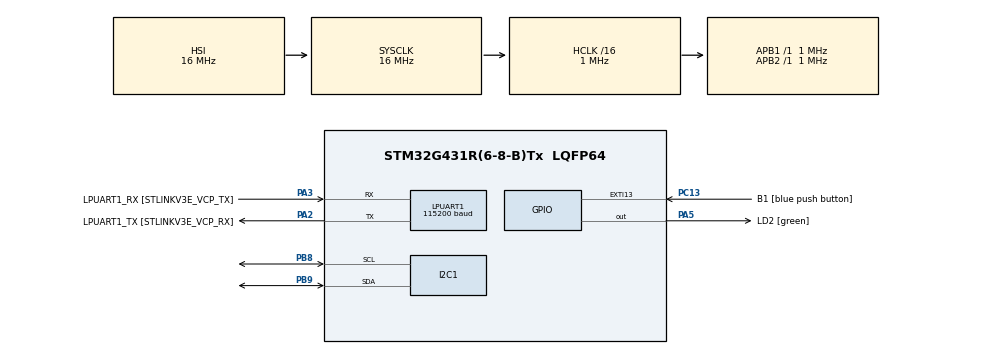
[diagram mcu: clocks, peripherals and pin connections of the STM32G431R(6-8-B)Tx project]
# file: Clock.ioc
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Dma.I2C1_TX.0.Direction=DMA_MEMORY_TO_PERIPH
Dma.I2C1_TX.0.EventEnable=DISABLE
Dma.I2C1_TX.0.Instance=DMA1_Channel1
Dma.I2C1_TX.0.MemDataAlignment=DMA_MDATAALIGN_BYTE
Dma.I2C1_TX.0.MemInc=DMA_MINC_ENABLE
Dma.I2C1_TX.0.Mode=DMA_NORMAL
Dma.I2C1_TX.0.PeriphDataAlignment=DMA_PDATAALIGN_BYTE
Dma.I2C1_TX.0.PeriphInc=DMA_PINC_DISABLE
Dma.I2C1_TX.0.Polarity=HAL_DMAMUX_REQ_GEN_RISING
Dma.I2C1_TX.0.Priority=DMA_PRIORITY_LOW
Dma.I2C1_TX.0.RequestNumber=1
Dma.I2C1_TX.0.SignalID=NONE
Dma.I2C1_TX.0.SyncEnable=DISABLE
Dma.I2C1_TX.0.SyncPolarity=HAL_DMAMUX_SYNC_NO_EVENT
Dma.I2C1_TX.0.SyncRequestNumber=1
Dma.I2C1_TX.0.SyncSignalID=NONE
Dma.Request0=I2C1_TX
I2C1.Timing=0x00000103
LPUART1.BaudRate=115200
Mcu.Family=STM32G4
Mcu.Name=STM32G431R(6-8-B)Tx
Mcu.Package=LQFP64
NVIC.DMA1_Channel1_IRQn=true\:0\:0\:false\:false\:true\:false\:true
NVIC.EXTI15_10_IRQn=true\:0\:0\:false\:false\:true\:true\:true
NVIC.I2C1_EV_IRQn=true\:0\:0\:false\:false\:true\:true\:true
NVIC.PriorityGroup=NVIC_PRIORITYGROUP_4
NVIC.RTC_WKUP_IRQn=true\:0\:0\:false\:false\:true\:true\:true
PA13.GPIO_Label=T_SWDIO
PA13.Mode=Serial_Wire
PA13.Signal=SYS_JTMS-SWDIO
PA14.GPIO_Label=T_SWCLK
PA14.Mode=Serial_Wire
PA14.Signal=SYS_JTCK-SWCLK
PA2.GPIO_Label=LPUART1_TX [STLINKV3E_VCP_RX]
PA2.Mode=Asynchronous
PA2.Signal=LPUART1_TX
PA3.GPIO_Label=LPUART1_RX [STLINKV3E_VCP_TX]
PA3.Mode=Asynchronous
PA3.Signal=LPUART1_RX
PA5.GPIO_Label=LD2 [green]
PA5.Signal=GPIO_Output
PB3.GPIO_Label=T_SWO
PB3.Signal=SYS_JTDO-SWO
PB8-BOOT0.Mode=I2C
PB8-BOOT0.Signal=I2C1_SCL
PB9.Mode=I2C
PB9.Signal=I2C1_SDA
PC13.GPIO_Label=B1 [blue push button]
PC13.Signal=GPXTI13
PC14-OSC32_IN.Mode=LSE-External-Oscillator
PC14-OSC32_IN.Signal=RCC_OSC32_IN
PC15-OSC32_OUT.Mode=LSE-External-Oscillator
PC15-OSC32_OUT.Signal=RCC_OSC32_OUT
PF0-OSC_IN.Signal=RCC_OSC_IN
PF1-OSC_OUT.Signal=RCC_OSC_OUT
ProjectManager.HeapSize=0x200
ProjectManager.StackSize=0x400
ProjectManager.TargetToolchain=Makefile
RCC.ADC12Freq_Value=16000000
RCC.AHBCLKDivider=RCC_SYSCLK_DIV16
RCC.AHBFreq_Value=1000000
RCC.APB1Freq_Value=1000000
RCC.APB1TimFreq_Value=1000000
RCC.APB2Freq_Value=1000000
RCC.APB2TimFreq_Value=1000000
RCC.CortexFreq_Value=1000000
RCC.EXTERNAL_CLOCK_VALUE=12288000
RCC.HCLKFreq_Value=1000000
RCC.HSE_VALUE=24000000
RCC.HSI48_VALUE=48000000
RCC.HSI_VALUE=16000000
RCC.PLLM=RCC_PLLM_DIV2
RCC.PLLR=RCC_PLLR_DIV8
RCC.RTCClockSelection=RCC_RTCCLKSOURCE_LSE
RCC.SYSCLKFreq_VALUE=16000000
RCC.USBFreq_Value=32000000
RCC.VCOOutputFreq_Value=64000000
RTC.Date=15
RTC.Format=RTC_FORMAT_BIN
RTC.Hours=14
RTC.Minutes=21
RTC.Month=RTC_MONTH_MARCH
RTC.Seconds=12
RTC.WakeUpClock-WakeUp=RTC_WAKEUPCLOCK_CK_SPRE_16BITS
RTC.WeekDay=RTC_WEEKDAY_MONDAY
RTC.Year=21
VP_RTC_VS_RTC_Activate.Mode=RTC_Enabled
VP_RTC_VS_RTC_Calendar.Mode=RTC_Calendar
VP_RTC_VS_RTC_WakeUp_intern.Mode=WakeUp
VP_SYS_VS_DBSignals.Mode=DisableDeadBatterySignals
board=NUCLEO-G431RB

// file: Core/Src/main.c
/* USER CODE BEGIN Header */
/**
  ******************************************************************************
  * @file           : main.c
  * @brief          : Main program body
  ******************************************************************************
  * @attention
  *
  * <h2><center>&copy; Copyright (c) 2021 STMicroelectronics.
  * All rights reserved.</center></h2>
  *
  * This software component is licensed by ST under BSD 3-Clause license,
  * the "License"; You may not use this file except in compliance with the
  * License. You may obtain a copy of the License at:
  *                        opensource.org/licenses/BSD-3-Clause
  *
  ******************************************************************************
  */
/* USER CODE END Header */
#include "main.h"

/* USER CODE BEGIN Includes */
#include "ssd1306.h"
#include "fonts.h"
#include "sht3x.h"
#include "stm32g4xx_lp_modes.h"

#if 0 //stand printf & sprintf
#include <stdio.h>
//don't forget that -u _printf_float should be add to the LDFLAGS
#else //tiny printf
#include "printf.h"
#endif

/* USER CODE END Includes */

I2C_HandleTypeDef hi2c1;
DMA_HandleTypeDef hdma_i2c1_tx;

UART_HandleTypeDef hlpuart1;

RTC_HandleTypeDef hrtc;

/* USER CODE BEGIN PV */
SSD1306_COLOR lcdColor = White;

// Create the handle for the sensor.
sht3x_handle_t handle = {
    .i2c_handle = &hi2c1,
    .device_address = SHT3X_I2C_DEVICE_ADDRESS_ADDR_PIN_LOW
};

/* USER CODE END PV */

void SystemClock_Config(void);
static void MX_GPIO_Init(void);
static void MX_DMA_Init(void);
static void MX_LPUART1_UART_Init(void);
static void MX_I2C1_Init(void);
static void MX_RTC_Init(void);

/* USER CODE BEGIN 0 */

void _putchar(char character)
{
  // send char to console etc.
  //HAL_UART_Transmit(&hlpuart1, (uint8_t*)character, 1, 1);
}

/* USER CODE END 0 */

int main(void)
{

  /* MCU Configuration--------------------------------------------------------*/

  /* Reset of all peripherals, Initializes the Flash interface and the Systick. */
  HAL_Init();

  /* Configure the system clock */
  SystemClock_Config();

  /* Initialize all configured peripherals */
  MX_GPIO_Init();
  MX_DMA_Init();
  MX_LPUART1_UART_Init();
  MX_I2C1_Init();
  MX_RTC_Init();
  /* USER CODE BEGIN 2 */

  ssd1306_Init();
  HAL_Delay(50);
  ssd1306_Fill(Black);

  ssd1306_SetCursor(8,8);
  ssd1306_WriteString("Init...",Font_11x18,White);
  ssd1306_UpdateScreen();
  //HAL_Delay(3000);

  // Initialise sensor (tests connection by reading the status register).
  if (!sht3x_init(&handle))
  {
    //printf("SHT3x access failed.\n\r");
  }

  int count = 1;
  char tmpBuf[128] = {0};
  RTC_TimeTypeDef timeOfRtc = {0};
  RTC_DateTypeDef dayOfRtc = {0};

  /* USER CODE END 2 */

  /* Infinite loop */
  while (1)
  {

    /* USER CODE BEGIN 3 */
    //HAL_GPIO_TogglePin(LD2_GPIO_Port, LD2_Pin);

  /*
    ssd1306_SetCursor(77,8);
    sprintf(tmpBuf, "%d", count);
    ssd1306_WriteString(tmpBuf,Font_11x18,lcdColor);
    ssd1306_UpdateScreen();
  */
    count++;
    if (count % 50 == 0)
    {
      if (lcdColor == Black)
      {
        lcdColor = White;
        ssd1306_Fill(Black);
      }
      else
      {
        lcdColor = Black;
        ssd1306_Fill(White);
      }
      //ssd1306_SetCursor(8,8);
      //ssd1306_WriteString("Count: 0",Font_11x18,lcdColor);
    }

    // Read temperature and humidity.
    float temperature, humidity;
    sht3x_read_temperature_and_humidity(&handle, &temperature, &humidity);
    //printf("Initial temperature: %.2fC, humidity: %.2f%%RH\n\r", temperature, humidity);

    ssd1306_SetCursor(90,2);
    //nf_sprintf(tmpBuf, "%.1fC", temperature);
    sprintf(tmpBuf, "%.1fC", temperature);
    ssd1306_WriteString(tmpBuf,Font_7x10,lcdColor);
    ssd1306_SetCursor(90,18);
    sprintf(tmpBuf, "%.1fR", humidity);
    ssd1306_WriteString(tmpBuf,Font_7x10,lcdColor);
    //ssd1306_UpdateScreen();

    HAL_RTC_GetTime(&hrtc, &timeOfRtc, RTC_FORMAT_BIN);
    HAL_RTC_GetDate(&hrtc, &dayOfRtc, RTC_FORMAT_BIN);

    ssd1306_SetCursor(0,8);
    sprintf(tmpBuf, "%02d:%02d:%02d", timeOfRtc.Hours, timeOfRtc.Minutes, timeOfRtc.Seconds);
    ssd1306_WriteString(tmpBuf,Font_11x18,lcdColor);

    ssd1306_UpdateScreen();

    sprintf(tmpBuf, "Rtc:20%02d-%02d-%02dT%02d:%02d:%02d Temp:%.1fC, %.1fRH\n\r", dayOfRtc.Year, dayOfRtc.Month, dayOfRtc.Date
      , timeOfRtc.Hours, timeOfRtc.Minutes, timeOfRtc.Seconds, temperature, humidity);
    //HAL_UART_Transmit(&hlpuart1, (uint8_t*)tmpBuf, 64, 64);

    //HAL_RTCEx_SetWakeUpTimer_IT(&hrtc, 0, RTC_WAKEUPCLOCK_CK_SPRE_16BITS);

#if 1    //debug = 0
    //stop mode
	//HAL_NVIC_DisableIRQ(EXTI15_10_IRQn);
	//HAL_Delay(10);
	while (hi2c1.State != HAL_I2C_STATE_READY)
	{
		/* code */
	}

	HAL_SuspendTick();
    StopRTCMode_Measure();

	//MX_GPIO_Init();
	//MX_LPUART1_UART_Init();

#else
    HAL_Delay(1000);
#endif
/*
  //heater test
  // Enable heater for two seconds.
  sht3x_set_header_enable(&handle, true);
  HAL_Delay(2000);
  sht3x_set_header_enable(&handle, false);

  // Read temperature and humidity again.
  sht3x_read_temperature_and_humidity(&handle, &temperature, &humidity);
  printf("After heating temperature: %.2fC, humidity: %.2f%%RH\n\r", temperature, humidity);
*/
  }
  /* USER CODE END 3 */
}

void SystemClock_Config(void)
{
  RCC_OscInitTypeDef RCC_OscInitStruct = {0};
  RCC_ClkInitTypeDef RCC_ClkInitStruct = {0};
  RCC_PeriphCLKInitTypeDef PeriphClkInit = {0};

  /** Configure the main internal regulator output voltage
  */
  HAL_PWREx_ControlVoltageScaling(PWR_REGULATOR_VOLTAGE_SCALE1);
  /** Configure LSE Drive Capability
  */
  HAL_PWR_EnableBkUpAccess();
  __HAL_RCC_LSEDRIVE_CONFIG(RCC_LSEDRIVE_LOW);
  /** Initializes the RCC Oscillators according to the specified parameters
  * in the RCC_OscInitTypeDef structure.
  */
  RCC_OscInitStruct.OscillatorType = RCC_OSCILLATORTYPE_HSI|RCC_OSCILLATORTYPE_LSE;
  RCC_OscInitStruct.LSEState = RCC_LSE_ON;
  RCC_OscInitStruct.HSIState = RCC_HSI_ON;
  RCC_OscInitStruct.HSICalibrationValue = RCC_HSICALIBRATION_DEFAULT;
  RCC_OscInitStruct.PLL.PLLState = RCC_PLL_NONE;
  if (HAL_RCC_OscConfig(&RCC_OscInitStruct) != HAL_OK)
  {
    Error_Handler();
  }
  /** Initializes the CPU, AHB and APB buses clocks
  */
  RCC_ClkInitStruct.ClockType = RCC_CLOCKTYPE_HCLK|RCC_CLOCKTYPE_SYSCLK
                              |RCC_CLOCKTYPE_PCLK1|RCC_CLOCKTYPE_PCLK2;
  RCC_ClkInitStruct.SYSCLKSource = RCC_SYSCLKSOURCE_HSI;
  RCC_ClkInitStruct.AHBCLKDivider = RCC_SYSCLK_DIV16;
  RCC_ClkInitStruct.APB1CLKDivider = RCC_HCLK_DIV1;
  RCC_ClkInitStruct.APB2CLKDivider = RCC_HCLK_DIV1;

  if (HAL_RCC_ClockConfig(&RCC_ClkInitStruct, FLASH_LATENCY_0) != HAL_OK)
  {
    Error_Handler();
  }
  /** Initializes the peripherals clocks
  */
  PeriphClkInit.PeriphClockSelection = RCC_PERIPHCLK_RTC|RCC_PERIPHCLK_LPUART1
                              |RCC_PERIPHCLK_I2C1;
  PeriphClkInit.Lpuart1ClockSelection = RCC_LPUART1CLKSOURCE_PCLK1;
  PeriphClkInit.I2c1ClockSelection = RCC_I2C1CLKSOURCE_PCLK1;
  PeriphClkInit.RTCClockSelection = RCC_RTCCLKSOURCE_LSE;

  if (HAL_RCCEx_PeriphCLKConfig(&PeriphClkInit) != HAL_OK)
  {
    Error_Handler();
  }
}

static void MX_I2C1_Init(void)
{

  hi2c1.Instance = I2C1;
  hi2c1.Init.Timing = 0x00000103;
  hi2c1.Init.OwnAddress1 = 0;
  hi2c1.Init.AddressingMode = I2C_ADDRESSINGMODE_7BIT;
  hi2c1.Init.DualAddressMode = I2C_DUALADDRESS_DISABLE;
  hi2c1.Init.OwnAddress2 = 0;
  hi2c1.Init.OwnAddress2Masks = I2C_OA2_NOMASK;
  hi2c1.Init.GeneralCallMode = I2C_GENERALCALL_DISABLE;
  hi2c1.Init.NoStretchMode = I2C_NOSTRETCH_DISABLE;
  if (HAL_I2C_Init(&hi2c1) != HAL_OK)
  {
    Error_Handler();
  }
  /** Configure Analogue filter
  */
  if (HAL_I2CEx_ConfigAnalogFilter(&hi2c1, I2C_ANALOGFILTER_ENABLE) != HAL_OK)
  {
    Error_Handler();
  }
  /** Configure Digital filter
  */
  if (HAL_I2CEx_ConfigDigitalFilter(&hi2c1, 0) != HAL_OK)
  {
    Error_Handler();
  }

}

static void MX_LPUART1_UART_Init(void)
{

  hlpuart1.Instance = LPUART1;
  hlpuart1.Init.BaudRate = 115200;
  hlpuart1.Init.WordLength = UART_WORDLENGTH_8B;
  hlpuart1.Init.StopBits = UART_STOPBITS_1;
  hlpuart1.Init.Parity = UART_PARITY_NONE;
  hlpuart1.Init.Mode = UART_MODE_TX_RX;
  hlpuart1.Init.HwFlowCtl = UART_HWCONTROL_NONE;
  hlpuart1.Init.OneBitSampling = UART_ONE_BIT_SAMPLE_DISABLE;
  hlpuart1.Init.ClockPrescaler = UART_PRESCALER_DIV1;
  hlpuart1.AdvancedInit.AdvFeatureInit = UART_ADVFEATURE_NO_INIT;
  if (HAL_UART_Init(&hlpuart1) != HAL_OK)
  {
    Error_Handler();
  }
  if (HAL_UARTEx_SetTxFifoThreshold(&hlpuart1, UART_TXFIFO_THRESHOLD_1_8) != HAL_OK)
  {
    Error_Handler();
  }
  if (HAL_UARTEx_SetRxFifoThreshold(&hlpuart1, UART_RXFIFO_THRESHOLD_1_8) != HAL_OK)
  {
    Error_Handler();
  }
  if (HAL_UARTEx_DisableFifoMode(&hlpuart1) != HAL_OK)
  {
    Error_Handler();
  }

}

static void MX_RTC_Init(void)
{

  RTC_TimeTypeDef sTime = {0};
  RTC_DateTypeDef sDate = {0};

  /** Initialize RTC Only
  */
  hrtc.Instance = RTC;
  hrtc.Init.HourFormat = RTC_HOURFORMAT_24;
  hrtc.Init.AsynchPrediv = 127;
  hrtc.Init.SynchPrediv = 255;
  hrtc.Init.OutPut = RTC_OUTPUT_DISABLE;
  hrtc.Init.OutPutRemap = RTC_OUTPUT_REMAP_NONE;
  hrtc.Init.OutPutPolarity = RTC_OUTPUT_POLARITY_HIGH;
  hrtc.Init.OutPutType = RTC_OUTPUT_TYPE_OPENDRAIN;
  hrtc.Init.OutPutPullUp = RTC_OUTPUT_PULLUP_NONE;
  if (HAL_RTC_Init(&hrtc) != HAL_OK)
  {
    Error_Handler();
  }

  /* USER CODE BEGIN Check_RTC_BKUP */
  if (HAL_RTCEx_BKUPRead(&hrtc, 0) == 0xfc)
  {
    goto exit;
  }

  HAL_RTCEx_BKUPWrite(&hrtc, 0, 0xfc);

  /* USER CODE END Check_RTC_BKUP */

  /** Initialize RTC and set the Time and Date
  */
  sTime.Hours = 14;
  sTime.Minutes = 21;
  sTime.Seconds = 12;
  sTime.SubSeconds = 0;
  sTime.DayLightSaving = RTC_DAYLIGHTSAVING_NONE;
  sTime.StoreOperation = RTC_STOREOPERATION_RESET;
  if (HAL_RTC_SetTime(&hrtc, &sTime, RTC_FORMAT_BIN) != HAL_OK)
  {
    Error_Handler();
  }
  sDate.WeekDay = RTC_WEEKDAY_MONDAY;
  sDate.Month = RTC_MONTH_MARCH;
  sDate.Date = 15;
  sDate.Year = 21;

  if (HAL_RTC_SetDate(&hrtc, &sDate, RTC_FORMAT_BIN) != HAL_OK)
  {
    Error_Handler();
  }
  /** Enable the WakeUp
  */
  if (HAL_RTCEx_SetWakeUpTimer_IT(&hrtc, 0, RTC_WAKEUPCLOCK_CK_SPRE_16BITS) != HAL_OK)
  {
    Error_Handler();
  }
  /* USER CODE BEGIN RTC_Init 2 */
  exit:;
  /* USER CODE END RTC_Init 2 */

}

static void MX_DMA_Init(void)
{

  /* DMA controller clock enable */
  __HAL_RCC_DMAMUX1_CLK_ENABLE();
  __HAL_RCC_DMA1_CLK_ENABLE();

  /* DMA interrupt init */
  /* DMA1_Channel1_IRQn interrupt configuration */
  HAL_NVIC_SetPriority(DMA1_Channel1_IRQn, 0, 0);
  HAL_NVIC_EnableIRQ(DMA1_Channel1_IRQn);

}

static void MX_GPIO_Init(void)
{
  GPIO_InitTypeDef GPIO_InitStruct = {0};

  /* GPIO Ports Clock Enable */
  __HAL_RCC_GPIOC_CLK_ENABLE();
  __HAL_RCC_GPIOF_CLK_ENABLE();
  __HAL_RCC_GPIOG_CLK_ENABLE();
  __HAL_RCC_GPIOA_CLK_ENABLE();
  __HAL_RCC_GPIOB_CLK_ENABLE();
  __HAL_RCC_GPIOD_CLK_ENABLE();

  /*Configure GPIO pin Output Level */
  HAL_GPIO_WritePin(LD2_GPIO_Port, LD2_Pin, GPIO_PIN_RESET);

  /*Configure GPIO pin : B1_Pin */
  GPIO_InitStruct.Pin = B1_Pin;
  GPIO_InitStruct.Mode = GPIO_MODE_IT_RISING;
  GPIO_InitStruct.Pull = GPIO_NOPULL;
  HAL_GPIO_Init(B1_GPIO_Port, &GPIO_InitStruct);

  /*Configure GPIO pin : PG10 */
  GPIO_InitStruct.Pin = GPIO_PIN_10;
  GPIO_InitStruct.Mode = GPIO_MODE_ANALOG;
  GPIO_InitStruct.Pull = GPIO_NOPULL;
  HAL_GPIO_Init(GPIOG, &GPIO_InitStruct);

  /*Configure GPIO pins : PC0 PC1 PC2 PC3
                           PC4 PC5 PC6 PC7
                           PC8 PC9 PC10 PC11
                           PC12 */
  GPIO_InitStruct.Pin = GPIO_PIN_0|GPIO_PIN_1|GPIO_PIN_2|GPIO_PIN_3
                          |GPIO_PIN_4|GPIO_PIN_5|GPIO_PIN_6|GPIO_PIN_7
                          |GPIO_PIN_8|GPIO_PIN_9|GPIO_PIN_10|GPIO_PIN_11
                          |GPIO_PIN_12;
  GPIO_InitStruct.Mode = GPIO_MODE_ANALOG;
  GPIO_InitStruct.Pull = GPIO_NOPULL;
  HAL_GPIO_Init(GPIOC, &GPIO_InitStruct);

  /*Configure GPIO pins : PA0 PA1 PA4 PA6
                           PA7 PA8 PA9 PA10
                           PA11 PA12 PA15 */
  GPIO_InitStruct.Pin = GPIO_PIN_0|GPIO_PIN_1|GPIO_PIN_4|GPIO_PIN_6
                          |GPIO_PIN_7|GPIO_PIN_8|GPIO_PIN_9|GPIO_PIN_10
                          |GPIO_PIN_11|GPIO_PIN_12|GPIO_PIN_15;
  GPIO_InitStruct.Mode = GPIO_MODE_ANALOG;
  GPIO_InitStruct.Pull = GPIO_NOPULL;
  HAL_GPIO_Init(GPIOA, &GPIO_InitStruct);

  /*Configure GPIO pin : LD2_Pin */
  GPIO_InitStruct.Pin = LD2_Pin;
  GPIO_InitStruct.Mode = GPIO_MODE_OUTPUT_PP;
  GPIO_InitStruct.Pull = GPIO_NOPULL;
  GPIO_InitStruct.Speed = GPIO_SPEED_FREQ_LOW;
  HAL_GPIO_Init(LD2_GPIO_Port, &GPIO_InitStruct);

  /*Configure GPIO pins : PB0 PB1 PB2 PB10
                           PB11 PB12 PB13 PB14
                           PB15 PB4 PB5 PB6
                           PB7 */
  GPIO_InitStruct.Pin = GPIO_PIN_0|GPIO_PIN_1|GPIO_PIN_2|GPIO_PIN_10
                          |GPIO_PIN_11|GPIO_PIN_12|GPIO_PIN_13|GPIO_PIN_14
                          |GPIO_PIN_15|GPIO_PIN_4|GPIO_PIN_5|GPIO_PIN_6
                          |GPIO_PIN_7;
  GPIO_InitStruct.Mode = GPIO_MODE_ANALOG;
  GPIO_InitStruct.Pull = GPIO_NOPULL;
  HAL_GPIO_Init(GPIOB, &GPIO_InitStruct);

  /*Configure GPIO pin : PD2 */
  GPIO_InitStruct.Pin = GPIO_PIN_2;
  GPIO_InitStruct.Mode = GPIO_MODE_ANALOG;
  GPIO_InitStruct.Pull = GPIO_NOPULL;
  HAL_GPIO_Init(GPIOD, &GPIO_InitStruct);

  /* EXTI interrupt init*/
  HAL_NVIC_SetPriority(EXTI15_10_IRQn, 0, 0);
  HAL_NVIC_EnableIRQ(EXTI15_10_IRQn);

}

/* USER CODE BEGIN 4 */

void HAL_I2C_MemTxCpltCallback(I2C_HandleTypeDef *hi2c)
{
	if(hi2c->Instance == hi2c1.Instance)
	{
#ifdef SSD1306_USING_DMA
		ssd1306_IntCallBack();
#endif
	}
}

/* USER CODE END 4 */

void Error_Handler(void)
{
  __disable_irq();
  while (1)
  {
  }
}

/************************ (C) COPYRIGHT STMicroelectronics *****END OF FILE****/
